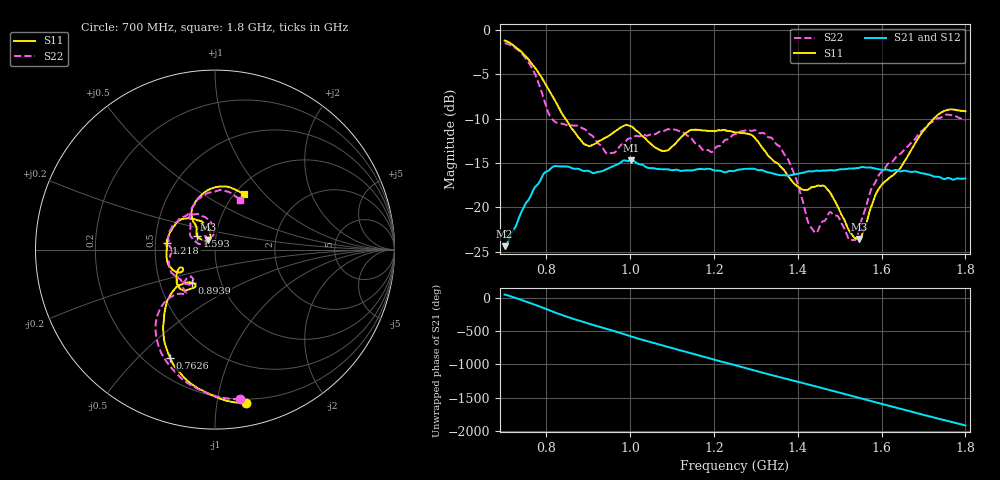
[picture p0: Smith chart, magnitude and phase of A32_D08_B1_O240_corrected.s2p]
! Created with skrf 1.9.0 (http://scikit-rf.org).
# Hz S RI R 50.0
!freq ReS11 ImS11 ReS21 ImS21 ReS12 ImS12 ReS22 ImS22
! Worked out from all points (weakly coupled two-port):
!   1601 points, 700 MHz to 1.8 GHz, reference 50 ohm
!   highest |S21| = -14.68 dB at 1.002 GHz (marker M1); lowest = -24.4 dB at 700 MHz (marker M2)
!   lowest |S11| = -23.6 dB at 1.546 GHz (marker M3), VSWR 1.14, Z = 46.2 + j5.14 ohm
!   |S11| at or under -10 dB: 845.3 MHz to 1.725 GHz (879.4 MHz wide, 68.4 % of centre)
!   |S22| runs from -23.7 to -1.5 dB; largest |S21 - S12| = 0.0036
!   S11 on the Smith chart (normalised r, x): 700 MHz: 0.17, -1.21; 762.6 MHz: 0.30, -0.63; 893.9 MHz: 0.73, -0.28; 1.218 GHz: 0.57, +0.05; 1.593 GHz: 0.81, +0.13; 1.8 GHz: 1.11, +0.77
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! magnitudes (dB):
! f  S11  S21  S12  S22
! 700 MHz  -1.2  -24.4  -24.2  -1.5
! 762.6 MHz  -3.7  -18.7  -18.6  -4.1
! 813.4 MHz  -7.4  -15.5  -15.5  -10.0
! 883.6 MHz  -12.5  -15.8  -15.7  -11.0
! 893.9 MHz  -12.9  -15.9  -16.0  -11.3
! 946.8 MHz  -12.0  -15.6  -15.6  -14.0
! 1.002 GHz  -10.9  -14.7  -14.8  -12.2
! 1.067 GHz  -13.4  -15.7  -15.6  -11.5
! 1.178 GHz  -11.3  -15.7  -15.6  -13.6
! 1.218 GHz  -11.3  -15.9  -15.9  -12.9
! 1.25 GHz  -11.5  -15.9  -15.8  -11.7
! 1.291 GHz  -11.9  -15.6  -15.7  -11.4
! 1.357 GHz  -15.3  -16.4  -16.3  -13.2
! 1.392 GHz  -17.3  -16.3  -16.3  -16.2
! 1.434 GHz  -17.7  -16.0  -15.9  -22.4
! 1.478 GHz  -18.4  -15.8  -15.8  -20.6
! 1.525 GHz  -22.8  -15.6  -15.6  -23.7
! 1.546 GHz  -23.6  -15.5  -15.5  -22.5
! 1.593 GHz  -17.9  -15.7  -15.7  -16.4
! 1.617 GHz  -16.7  -15.8  -15.8  -15.0
! 1.732 GHz  -9.7  -16.6  -16.6  -10.0
! 1.8 GHz  -9.2  -16.7  -16.7  -10.2
